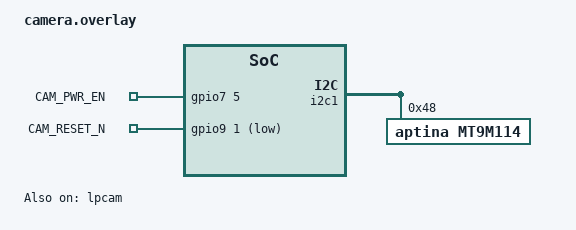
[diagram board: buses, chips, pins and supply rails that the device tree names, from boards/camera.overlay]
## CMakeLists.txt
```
# SPDX-License-Identifier: Apache-2.0
# Your west file should contain something like this to include the CMSIS-Stream module:
#    - name: cmsisstream
#      url: https://github.com/ARM-software/CMSIS-Stream
#      revision: main
#      path: modules/lib/cmsisstream

cmake_minimum_required(VERSION 3.20.0)

find_package(Zephyr REQUIRED HINTS $ENV{ZEPHYR_BASE})
project(hello_world)


add_subdirectory(src/streamgraph/common)
add_subdirectory(src/streamgraph/streamnodes)

target_sources(app PRIVATE src/main.cpp src/startup.c
  src/streamgraph/nodes_src/kws_img.c 
  src/streamgraph/nodes_src/kws_mfcc.c
  src/streamgraph/nodes_src/classify.cpp
  
  src/streamgraph/nodes_src/init_drv_src.cpp
  src/networks/kws_micronet_m_vela_H128.tflite.cpp
  src/container.c
  src/md5.c
  src/networks/network.cpp
)

# Workaround for Zephyr issue with gcc / Helium
# The file classify.cpp uses arm_mve.h
set_source_files_properties(src/streamgraph/nodes_src/classify.cpp
PROPERTIES COMPILE_DEFINITIONS ZEPHYR_INCLUDE_TOOLCHAIN_STDINT_H_)

if (CONFIG_DISPLAY)
  target_sources(app PRIVATE
    src/streamgraph/nodes_src/img_utils.cpp
  )
endif()


target_include_directories(app PUBLIC 
  src/streamgraph/streamnodes
  src/streamgraph/streamnodes/appnodes
  src/networks
  src
  )

#######################
# Appa
target_sources(app PRIVATE 
  src/streamgraph/appa/scheduler_appa.cpp
  src/streamgraph/appa/appa_params.c
  )

target_include_directories(app PUBLIC 
  src/streamgraph/appa
  )

#######################
# AppB
target_sources(app PRIVATE 
  src/streamgraph/appb/scheduler_appb.cpp
  src/streamgraph/appb/appb_params.c
  )

target_include_directories(app PUBLIC 
  src/streamgraph/appb
  )

#######################
# AppC
target_sources(app PRIVATE 
  src/streamgraph/appc/scheduler_appc.cpp
  src/streamgraph/appc/appc_params.c
  )

target_include_directories(app PUBLIC 
  src/streamgraph/appc
  )

if (CONFIG_TEMPLATE_INSTANTIATIONS)
    message(STATUS "Including template instantiations for code size optimization")
    target_sources(app PRIVATE src/streamgraph/common/template_instantiations.cpp)
endif()

target_link_libraries(app PRIVATE stream_nodes appcommon)
```

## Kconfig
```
config SAMPLE_RATE
	int "Sampling rate"
	default 16000

config NB_BINS
    int "Number of frequency bins"
    default 128

config I2S_SAMPLES
	int "Number of samples per slab buffer"
	default 320

config I2S_NUM_BUFFERS
	int "Number of I2S slab buffers to allocate"
	default 4

config ACTIVATION_BUF_SECTION
	string "Linker section where activation buffer (tensor arena) is placed"
	default ".bss.activation_buf"

config ACTIVATION_BUF_SZ
	hex "Tensor arena size"
	default 0x20000

config TOUCH_SCREEN_DELAY
	int "Duration between touch screen events in ms"
	default 500
	help
		Minimum duration between two touch screen events to avoid
		generating too many events.

config MODEL_IN_EXT_FLASH
	bool "Put ML model to external flash"
	select FLASH
	select ALIF_OSPI_FLASH_XIP
	help
		Initialize OSPI controller to XIP mode. Initialize the onboard flash device. Link ML model data to external flash address space.
		In addition to normal zephyr.bin output, ospi1.bin is generated. When enabled, the model memory section is set automatically (See BufAttributes.h)

config MODEL_SECTION
	string "Linker section where ML model is placed"
	default ".rodata.tflm_model"

config ETHOS_U_AXI0_ONLY
	bool "Only use AXI0 port on the Ethos"
	default false

config TEMPLATE_INSTANTIATIONS
	bool "Code size optimization with template instantiations"
	default false

config PREBUILT_ET
	bool "Prebuilt executorch library"
	default false

config ET_ARM_BAREMETAL_METHOD_ALLOCATOR_POOL_SIZE
	hex "Method allocator pool size in bytes"
	default 0x20000
	help
	  Size of the method allocator pool in bytes. This memory is used
	  for allocating ExecuTorch method instances and their metadata.
	  Default is 16KB which should be sufficient for most small models.
	  Larger models may require more memory.

config ET_ARM_BAREMETAL_SCRATCH_TEMP_ALLOCATOR_POOL_SIZE
	hex "Temporary allocator pool size in bytes"
	default 0x8000
	help
	  Size of the temporary allocator pool in bytes. This memory is used
	  for temporary allocations during model execution such as intermediate
	  tensor calculations. Default is 2KB which should be sufficient for
	  simple operations. Complex models may require more memory.

config ONLY_LAST
	bool "Only use the last network"
	default false

	
config ET_METHOD_SECTION
	string "Linker section method buffer is placed"
	default ".bss.method"

config ET_TENSOR_ARENA_SECTION
	string "Linker section where activation buffer (tensor arena) is placed"
	default ".bss.tensor_arena"

config ET_ETHOSU_SCRATCH_SECTION
	string "Fast scratch buffer section for Ethos-U."
	default ".bss.ethosu_scratch"

config ET_MODEL
	string "Model coefficients"
	default ".rodata.et"

module = STREAMAPPS
module-str = streamapps
source "subsys/logging/Kconfig.template.log_config"

source "Kconfig.zephyr"
```

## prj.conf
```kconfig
CONFIG_CPP=y
CONFIG_STD_CPP17=y

CONFIG_REQUIRES_FULL_LIBC=y
CONFIG_REQUIRES_FLOAT_PRINTF=y

CONFIG_NEWLIB_LIBC=y
CONFIG_REQUIRES_FULL_LIBCPP=y
CONFIG_NEWLIB_LIBC_MIN_REQUIRED_HEAP_SIZE=8192

CONFIG_CMSISSTREAM=y
CONFIG_CMSISSTREAM_POOL_SECTION=".alif_sram1.evt_pool"

CONFIG_CMSIS_DSP=y
CONFIG_CMSIS_DSP_FLOAT16=n

# Deprecated settngs with latest CMSIS-DSP Zephyr module
# (kept for backward compatibility with CMSIS-DSP in Zephyr main repo)
CONFIG_CMSIS_DSP_FASTMATH=y
CONFIG_CMSIS_DSP_COMPLEXMATH=y
CONFIG_CMSIS_DSP_TRANSFORM=y
CONFIG_CMSIS_DSP_WINDOW=y
CONFIG_CMSIS_DSP_SUPPORT=y
CONFIG_CMSIS_DSP_MATRIX=y
CONFIG_CMSIS_DSP_STATISTICS=y

CONFIG_MAIN_STACK_SIZE=4096
CONFIG_MAIN_THREAD_PRIORITY=3
CONFIG_HEAP_MEM_POOL_SIZE=16384
#CONFIG_HEAP_MEM_POOL_SIZE=32765

# For C++ std library allocations
CONFIG_COMMON_LIBC_MALLOC=y
# All memory
CONFIG_COMMON_LIBC_MALLOC_ARENA_SIZE=60000

CONFIG_EVENTS=y

CONFIG_LOG=y
CONFIG_LOG_MODE_IMMEDIATE=n
CONFIG_LOG_DEFAULT_LEVEL=3
#CONFIG_LOG_RUNTIME_FILTERING=y

CONFIG_CMSISSTREAM_LOG_LEVEL_DBG=y
CONFIG_STREAMAPPS_LOG_LEVEL_DBG=y

CONFIG_I2S=y

# If value not consistent with the graph settings, it won't build.
CONFIG_I2S_SAMPLES=320
CONFIG_I2S_NUM_BUFFERS=2

# Display
#CONFIG_MIPI_DSI=y
#CONFIG_DISPLAY=y
#CONFIG_DBUF_DISPLAY=y

#TF Lite
#CONFIG_TENSORFLOW_LITE_MICRO=y
#CONFIG_ACTIVATION_BUF_SECTION=".alif_sram1.activation_buf"

# TF Lite and executorch
CONFIG_ARM_ETHOS_U=y

CONFIG_ARM_ETHOS_U_LOG_LEVEL_DBG=n




CONFIG_THREAD_STACK_INFO=y

#CONFIG_DEBUG=y
#CONFIG_SPEED_OPTIMIZATIONS=y
#CONFIG_SIZE_OPTIMIZATIONS=n


CONFIG_CBPRINTF_FP_SUPPORT=y

# Camera
#CONFIG_VIDEO=y
#CONFIG_VIDEO_BUFFER_POOL_SZ_MAX=524288
#CONFIG_VIDEO_BUFFER_POOL_NUM_MAX=1

CONFIG_I2C_TARGET=y
CONFIG_I2C=y
CONFIG_I2C_DW_CLOCK_SPEED=100
CONFIG_I2C_SHELL=y

# To build a CPP file containing template instantiations and avoid
# duplications when same template is used in multiple CMSIS Stream graphs
CONFIG_TEMPLATE_INSTANTIATIONS=y

# Shell
CONFIG_SHELL=y
CONFIG_SHELL_LOG_BACKEND=y
CONFIG_SHELL_BACKEND_SERIAL=y
CONFIG_SHELL_STACK_SIZE=8192

CONFIG_GPIO=y
CONFIG_GPIO_SHELL=y

# Touch screen
CONFIG_INPUT=y
CONFIG_INPUT_GPIO_KEYS=n
CONFIG_INPUT_GT911_INTERRUPT=y

# For external flash model
#CONFIG_MODEL_IN_EXT_FLASH=y
#CONFIG_FLASH=y
#CONFIG_OSPI_FLASH_IS25WX=y
#CONFIG_USE_ALIF_HAL_OSPI=y

#CONFIG_CMSIS_NN=y

# Executorch
CONFIG_PREBUILT_ET=y
CONFIG_ET_METHOD_SECTION=".alif_sram1.method"
CONFIG_ET_TENSOR_ARENA_SECTION=".alif_sram1.tensor_arena"
CONFIG_ET_ETHOSU_SCRATCH_SECTION=".alif_sram1.ethosu_scratch"
CONFIG_ET_MODEL=".rodata.et"

CONFIG_FPU=y
CONFIG_FP_HARDABI=y

# Enable only last network for debug
CONFIG_ONLY_LAST=y
```

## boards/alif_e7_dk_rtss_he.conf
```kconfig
CONFIG_DBUF_DISPLAY_SECTION=".alif_sram0"
```

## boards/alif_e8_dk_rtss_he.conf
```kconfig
#CONFIG_DBUF_DISPLAY_SECTION=".alif_sram0"
#CONFIG_VIDEO_BUFFER_POOL_SZ_MAX=524288
#CONFIG_VIDEO_BUFFER_POOL_NUM_MAX=1
```

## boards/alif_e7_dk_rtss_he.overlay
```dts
/* Copyright (C) 2025 Alif Semiconductor - All Rights Reserved.
 * Use, distribution and modification of this code is permitted under the
 * terms stated in the Alif Semiconductor Software License Agreement
 *
 * You should have received a copy of the Alif Semiconductor Software
 * License Agreement with this file. If not, please write to:
 * contact@alifsemi.com, or visit: https: //alifsemi.com/license
 *
 */


/ {
	aliases {
		i2s-mic = &i2s3;
		lcd = &cdc200;
		sw0 = &button5;
	};

	chosen {
		zephyr,touch = &gt911;
	};

	soc {
      cdc200: cdc200@49031000 {
			width = <480>;
			height = <800>;
			hfront-porch = <5>;
			hback-porch = <5>;
			hsync-len = <4>;
			vfront-porch = <10>;
			vback-porch = <10>;
			vsync-len = <2>;
			clock-frequency = <24364080>;
			hsync-active = <0>;
			vsync-active = <0>;
			de-active = <1>;
			pixelclk-active = <0>;
			bg-color = <0>;
			enable-l1 = <1>;
			pixel-fmt-l1 = "rgb-565";
			def-back-color-l1 = <0>;
			win-x0-l1 = <0>;
			win-y0-l1 = <0>;
			win-x1-l1 = <480>;
			win-y1-l1 = <800>;
			blend-factor1-l1 = <4>;
			blend-factor2-l1 = <5>;
			const-alpha-l1 = <0xff>;
			enable-l2 = <0>;
			pixel-fmt-l2 = "undefined";
			win-x0-l2 = <0>;
			win-y0-l2 = <0>;
			win-x1-l2 = <0>;
			win-y1-l2 = <0>;
			blend-factor1-l2 = <6>;
			blend-factor2-l2 = <7>;
			const-alpha-l2 = <0xff>;
		};
	  
	};


  };



&ospi1 {
	bus-speed = <100000000>;
	pinctrl-0 = <&pinctrl_flash>;
	status = "okay";
};

&i2s3
{
    status = "okay";
};



&mipi_dsi {
	status = "okay";
};

&gpio14 {
	status = "okay";
};

&ethosu0 {
	status = "okay";
};



&lpgpio{
	status = "okay";
};

/ {
	buttons {
		compatible = "gpio-keys";
		button5: button_5 {
			gpios = < &lpgpio 0x4 0x0 >;
			label = "SW5";
		};
	};
};


&i2c1 {
	status = "okay";
	gt911: gt911@5d{
		compatible = "goodix,gt911";
		reg = <0x5d>;
		reset-gpios = <&gpio4 0 GPIO_ACTIVE_LOW>;
		irq-gpios = <&gpio9 4 GPIO_ACTIVE_HIGH>;
	};
};



&gpio4 {
	pinctrl-0	= <&pinctrl_gpio4>;
	pinctrl-names   = "default";
	status          = "okay";
};


&gpio9 {
	pinctrl-0	= <&pinctrl_gpio9>;
	pinctrl-names   = "default";
	status          = "okay";
};
```

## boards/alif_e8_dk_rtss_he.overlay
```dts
/* Copyright (C) 2025 Alif Semiconductor - All Rights Reserved.
 * Use, distribution and modification of this code is permitted under the
 * terms stated in the Alif Semiconductor Software License Agreement
 *
 * You should have received a copy of the Alif Semiconductor Software
 * License Agreement with this file. If not, please write to:
 * contact@alifsemi.com, or visit: https: //alifsemi.com/license
 *
 */

/ {
	aliases {
		i2s-mic = &i2s4;
		lcd = &cdc200;
	};
};

&ospi1 {
	bus-speed = <100000000>;
	status = "okay";
};

&i2s4{
    status = "okay";
};

&ethosu0 {
	status = "okay";
};

&lpgpio {
	status = "okay";
};

&gpio6 {
	status = "okay";
};
```

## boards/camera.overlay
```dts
&gpio7 {
   status = "okay";
   pinctrl-0	= <&pinctrl_gpio7>;
   pinctrl-names   = "default";
};

&gpio9 {
   status = "okay";
   pinctrl-0	= <&pinctrl_gpio9>;
   pinctrl-names   = "default";
};

&i2c1 {
	status = "okay";

	mt9m114: mt9m114@48{
		compatible = "aptina,mt9m114";
		reg = <0x48>;
		status = "okay";

		port {
			mt9m114_ep_out: endpoint {
				remote-endpoint-label = "lpcam_ep_in";
			};
		};
	};
};

&lpcam {
	status = "okay";
	cpi-interface = "parallel";
	ports {
		#address-cells = <1>;
		#size-cells = <0>;

		/* Camera Input Endpoint. For LP-CAM it is only camera */
		port@0 {
			reg = <0>;
			lpcam_ep_in: endpoint {
				remote-endpoint-label = "mt9m114_ep_out";
			};
		};

		/* Video buffer output endpoint (Memory). */
		port@1 {
			reg = <1>;
			lpcam_mem_ep_out: endpoint {
				remote-endpoint-label = "application";
			};
		};
	};
};

/ {
	camera_pwr: camera-pwr {
		status = "okay";
		compatible = "gpio-leds";
		cam_pwr_gpio: cam-pwr-gpio {
			gpios = <&gpio7 5 GPIO_ACTIVE_HIGH>;
			label = "CAM_PWR_EN";
		};
	};

	aliases {
		cam-pwr = &cam_pwr_gpio;
	};
};


/ {
	camera_reset: camera-reset {
		status = "okay";
		compatible = "gpio-leds";
		cam_reset_gpio: cam-reset-gpio {
			gpios = <&gpio9 1 GPIO_ACTIVE_LOW>;
			label = "CAM_RESET_N";
		};
	};

	aliases {
		cam-reset = &cam_reset_gpio;
	};
};
```

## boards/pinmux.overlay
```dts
/* Button */
&pinctrl_lpgpio {
	group0 {
		pinmux = < PIN_P15_4__LPGPIO >;
		read-enable = < 0x1 >;
		driver-state-control = <1>;
	};
};

/* Touch screen */
&pinctrl_gpio4 {
	group0 {
		/* Enable only Port-4 Pin-0 */
		pinmux = <PIN_P4_0__GPIO>;
	};
};

/* Camera */
&pinctrl_gpio7 {
	group0 {
		pinmux = <PIN_P7_5__GPIO>;
	};
};

/* Camera and touch screen */
&pinctrl_gpio9 {
	group0 {
		pinmux = <PIN_P9_4__GPIO>,<PIN_P9_1__GPIO>;
	};
};
```

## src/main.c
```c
/*
 * Copyright (c) 2012-2014 Wind River Systems, Inc.
 *
 * SPDX-License-Identifier: Apache-2.0
 */

#include <stdio.h>
#include <zephyr/logging/log.h>
LOG_MODULE_REGISTER(main);

#include "stream.h"

int main(void)
{
    LOG_INF("Starting main\n");

    int err = init_stream();
    if (err != 0) {
        LOG_INF("Error initializing stream\n");
        return -1;
    }

    return 0;
}
```

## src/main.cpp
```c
/* ----------------------------------------------------------------------
 * Project:      CMSIS Stream demo
 * Title:        main.cpp
 * Description:  Entry point for the CMSIS Stream demo application
 *
 * --------------------------------------------------------------------
 *
 * Copyright (C) 2026 ARM Limited or its affiliates. All rights reserved.
 *
 * SPDX-License-Identifier: Apache-2.0
 *
 * Licensed under the Apache License, Version 2.0 (the License); you may
 * not use this file except in compliance with the License.
 * You may obtain a copy of the License at
 *
 * www.apache.org/licenses/LICENSE-2.0
 *
 * Unless required by applicable law or agreed to in writing, software
 * distributed under the License is distributed on an AS IS BASIS, WITHOUT
 * WARRANTIES OR CONDITIONS OF ANY KIND, either express or implied.
 * See the License for the specific language governing permissions and
 * limitations under the License.
 */

#include <cstdio>
#include <cstdlib>

#include "cg_enums.h"
#include <zephyr/kernel.h>
#include <zephyr/logging/log.h>
#include <zephyr/shell/shell.h>
#include <zephyr/drivers/i2s.h>
#include <zephyr/drivers/gpio.h>
#include <zephyr/input/input.h>

LOG_MODULE_REGISTER(streamapps, CONFIG_STREAMAPPS_LOG_LEVEL);


#include "cstream_node.h"
#if !defined(CONFIG_ONLY_LAST)
#include "appa_params.h"
#include "appb_params.h"
#endif
#include "appc_params.h"

#if !defined(CONFIG_ONLY_LAST)
#include "scheduler_appa.h"
#include "scheduler_appb.h"
#endif
#include "scheduler_appc.h"

#include "EventQueue.hpp"
#include "StreamNode.hpp"

#include "stream_runtime_init.hpp"

#include "rtos_events.hpp"

extern "C" {
#include "container.h"
#include "network.h"
}

#include "init_drv_src.hpp"

#if defined(CONFIG_PREBUILT_ET)
#include "et.hpp"
#endif 

/*
 * Get button configuration from the devicetree sw0 alias. This is mandatory.
 */
#define SW_NODE DT_ALIAS(sw0)
#if DT_NODE_HAS_STATUS_OKAY(SW_NODE)
static const struct gpio_dt_spec button = GPIO_DT_SPEC_GET_OR(SW_NODE, gpios, {0});
static struct gpio_callback button_cb_data;
#endif

#if DT_NODE_EXISTS(DT_CHOSEN(zephyr_touch))
static const struct device *const touch_dev = DEVICE_DT_GET(DT_CHOSEN(zephyr_touch));

#endif

// Event to the interrupt thread
struct k_event cg_interruptEvent;
static k_tid_t tid_interrupts = NULL;
static struct k_thread interrupt_thread;

#define INTERRUPT_THREAD_PRIORITY 0

static K_THREAD_STACK_DEFINE(interrupt_thread_stack, 4096);

using namespace arm_cmsis_stream;



#if defined(CONFIG_ONLY_LAST)
#define NB_APPS 1
static int currentNetwork = 0;
#else
// Number of applications/networks available in this demo
#define NB_APPS 3
// 0 : KWS
// 1 : Spectrogram
// 2 : To experiment with camera support
static int currentNetwork = 2;
#endif

#define SWITCH_EVENT (1 << 0)

/**
 * @brief Array of stream execution contexts, one per network.
 */
static stream_execution_context_t contexts[NB_APPS];

/**
 * @brief Parameters for appa and appb networks.
 * By convention, each parameter structs starts with a hardwareParams member
 * named 'hw_' that holds hardware connection parameters.
 */
static hardwareParams *params[NB_APPS];

#if DT_NODE_HAS_STATUS_OKAY(SW_NODE)
void button_pressed(const struct device *dev, struct gpio_callback *cb, uint32_t pins)
{
	if (NB_APPS == 1) {
		// If there is only one network, we don't need to post events to switch between
		// networks
		return;
	}
	uint32_t old = k_event_post(&cg_interruptEvent, SWITCH_EVENT);
	LOG_DBG("Posted SWITCH_EVENT, old events=0x%08x\n", old);
}
#endif

#if DT_NODE_EXISTS(DT_CHOSEN(zephyr_touch))
static int64_t last_sync_ms = 0;

static void touch_event_callback(struct input_event *evt, void *user_data)
{
	if (NB_APPS == 1) {
		// If there is only one network, we don't need to post events to switch between
		// networks
		return;
	}
	if (evt->sync) {
		int64_t now = k_uptime_get();
		if (now - last_sync_ms > CONFIG_TOUCH_SCREEN_DELAY) {
			uint32_t old = k_event_post(&cg_interruptEvent, SWITCH_EVENT);
			LOG_DBG("Posted SWITCH_EVENT, old events=0x%08x\n", old);
			last_sync_ms = now;
		}
	}
}
INPUT_CALLBACK_DEFINE(touch_dev, touch_event_callback, NULL);
#endif

static int cmd_switch(const struct shell *shell, size_t argc, char **argv)
{
	if (NB_APPS == 1) {
		// If there is only one network, we don't need to post events to switch between
		// networks
		return 0;
	}
	uint32_t old = k_event_post(&cg_interruptEvent, SWITCH_EVENT);
	LOG_DBG("Posted SWITCH_EVENT, old events=0x%08x\n", old);

	return 0;
}

SHELL_CMD_REGISTER(switch, NULL, "Switch between networks", cmd_switch);

#if defined(CONFIG_PREBUILT_ET)
static int cmd_et(const struct shell *shell, size_t argc, char **argv)
{
   float v = 1.0f;

   if (argc > 1) {
	 v = strtof(argv[1], NULL);
   }
   int err = et(v);

   LOG_INF("Inference completed with result %d\n", err);

   return 0;
}
SHELL_CMD_REGISTER(et, NULL, "Executorch test", cmd_et);
#endif 

// Translate interrupt events into CMSIS Stream events
void interrupt_thread_function(void *, void *, void *)
{
	LOG_INF("Started interrupt thread\n");

	for (;;) {
		uint32_t res = k_event_wait(&cg_interruptEvent, SWITCH_EVENT, false, K_FOREVER);
		if ((res & SWITCH_EVENT) != 0) {
			k_event_clear(&cg_interruptEvent, SWITCH_EVENT);
			LOG_DBG("Received Switching network event\n");
			currentNetwork = (currentNetwork + 1) % NB_APPS;
			LOG_DBG("Switching to network %d\n", currentNetwork);
			stream_pause_current_scheduler();
			stream_resume_scheduler(&contexts[currentNetwork]);
			LOG_DBG("Context switch done\n");
		}
	}
	LOG_INF("Interrupt thread ended\n");
}

/*

 Pause and resume all nodes in a given graph.
 Those are not defined in the CMSIS STream Zephyr module because the
 CStreamNode interface can be extended by the application and support new
 interfaces.

 To work with the CMSIS Stream Zephyr module, two interfaces have been defined
 in cstream_node.h and the context_switch_intf is used in the
 pause / resume functions.

 Those functions are called by the CMSIS Stream Zephyr module which does not
 have any visibility on the application specific CStreamNode structure.

*/
static void pause_scheduler_app(const stream_execution_context_t *context)
{
	for (int32_t nodeid = 0; nodeid < (int32_t)context->nb_identified_nodes; nodeid++) {
		CStreamNode *cnode = static_cast<CStreamNode *>(context->get_node_by_id(nodeid));
		if (cnode != nullptr) {
			// If the node implements the context switch interface, pause it
			if ((cnode->obj != nullptr) && (cnode->context_switch_intf != nullptr)) {
				cnode->context_switch_intf->pause(cnode->obj);
			}
		}
	}
}

static void resume_scheduler_app(const stream_execution_context_t *context)
{
	for (int32_t nodeid = 0; nodeid < (int32_t)context->nb_identified_nodes; nodeid++) {
		CStreamNode *cnode = static_cast<CStreamNode *>(context->get_node_by_id(nodeid));

		if (cnode != nullptr) {
			// If the node implements the context switching interface, resume it
			if ((cnode->obj != nullptr) && (cnode->context_switch_intf != nullptr)) {
				cnode->context_switch_intf->resume(cnode->obj);
			}
		}
	}
}

/*

The get_scheduler_node functions cannot be used directly by the
CMSIS Stream Zephyr module necause they return an application dependent
CStreamNode* pointer.
So we need to wrap them to return a void* pointer.

*/
#if !defined(CONFIG_ONLY_LAST)
static void *get_appa_node(int32_t nodeID)
{
	return static_cast<void *>(get_scheduler_appa_node(nodeID));
}

static void *get_appb_node(int32_t nodeID)
{
	return static_cast<void *>(get_scheduler_appb_node(nodeID));
}
#endif 

static void *get_appc_node(int32_t nodeID)
{
	return static_cast<void *>(get_scheduler_appc_node(nodeID));
}

#if DT_NODE_HAS_STATUS_OKAY(SW_NODE)
static int config_button()
{
	if (!gpio_is_ready_dt(&button)) {
		printk("Error: button device %s is not ready\n", button.port->name);
		return -1;
	}

	int ret = gpio_pin_configure_dt(&button, GPIO_INPUT);
	if (ret != 0) {
		printk("Error %d: failed to configure %s pin %d\n", ret, button.port->name,
		       button.pin);
		return ret;
	}

	ret = gpio_pin_interrupt_configure_dt(&button, GPIO_INT_EDGE_TO_ACTIVE);
	if (ret != 0) {
		printk("Error %d: failed to configure interrupt on %s pin %d\n", ret,
		       button.port->name, button.pin);
		return ret;
	}

	gpio_init_callback(&button_cb_data, button_pressed, BIT(button.pin));
	gpio_add_callback(button.port, &button_cb_data);

	return (0);
}
#endif

#if DT_NODE_EXISTS(DT_CHOSEN(zephyr_touch))
static int config_touch()
{
	if (!device_is_ready(touch_dev)) {
		LOG_ERR("Device %s not found. Aborting sample.", touch_dev->name);
		return -1;
	}

	return (0);
}
#endif

int main(void)
{
	int err;
	EventQueue *queue_app[NB_APPS];

	LOG_DBG("Starting main\n");

	/*
	Configure hardware audio source and display
	Initialize memory slab for audio buffers

	Instead of hardcoding initialization of HW peripheral here,
	one could extend the ContextSwitch interface to query what
	is the need of a node.
	Then, we could ask all nodes in each graph what they need.
	And we would only initialize the HW peripherals needed by the nodes
	in any graph.

	*/

#if defined(CONFIG_I2S)
	k_mem_slab *mem_slab = nullptr;
	const struct device *i2s_mic = init_audio_source(&mem_slab);

	if (i2s_mic == nullptr) {
		LOG_ERR("Error initializing audio source\n");
		goto error;
	}
#else
	k_mem_slab *mem_slab = nullptr;
	const struct device *i2s_mic = nullptr;
#endif

#if DT_NODE_HAS_STATUS_OKAY(SW_NODE)
	err = config_button();
	if (err != 0) {
		LOG_ERR("Error configuring button\n");
		goto error;
	}
#endif

#if DT_NODE_EXISTS(DT_CHOSEN(zephyr_touch))
	err = config_touch();
	if (err != 0) {
		LOG_ERR("Error configuring touch\n");
		goto error;
	}
#endif

#if defined(CONFIG_DISPLAY)
	err = init_display();
	if (err != 0) {
		LOG_ERR("Error initializing display\n");
		goto error;
	}
#endif

#if defined(CONFIG_MODEL_IN_EXT_FLASH)
	err = validate_container_description("c4b4312989d06dd45d92da7af0913afd");
	if (err) 
	{
		LOG_ERR("Invalid container description in external flash\n");
		goto error;
	} 
	else 
	{
		LOG_INF("Container description in external flash validated\n");
	}
#endif

	/**
	 * @brief Network parameter initialization
	 * Most settings could come from a YAML file. The YAML
	 * file could be used to generate the appa_params.c and
	 * appb_params.c files.
	 *
	 * The parameters related to hardware connections are set here
	 * in main.cpp. They are common to all graphs so a generic loop
	 * can be used. The convention has been imposed that each
	 * prameter structure for each graph starts with a hardwareParams
	 * member named 'hw_'.
	 *
	 * The TensorFlow Lite model pointer and size are also set here
	 * in main.cpp for the appa graph.
	 * It would probaby be better to put this in a YAML file too
	 * (name of variable containing the model pointer and size).
	 * Or have another mechanism to select the model from yaml.
	 * Here we have to hardcode the initialization of the node.
	 * So it is not generic. If the network contains multiple TFLite
	 * nodes with different models, this approach would not work.
	 * We would need to change the initialization.
	 * It would be better if the initialization in this
	 * file could work with any network and don't have to be changed.
	 * If is possible but require to define some conventions
	 */

	/*

	Init settings for appa scheduler

	*/
#if !defined(CONFIG_ONLY_LAST)
    appaParams.kws.modelAddr = (uint8_t *)GetModelPointer();
	appaParams.kws.modelSize = GetModelLen();
	params[0] = reinterpret_cast<hardwareParams *>(&appaParams);

	/*
	
	Init settings for appb scheduler
	
	*/
	params[1] = reinterpret_cast<hardwareParams *>(&appbParams);

	/*
	
	Init settings for appc scheduler
	
	*/
	params[2] = reinterpret_cast<hardwareParams *>(&appcParams);
#else
	params[0] = reinterpret_cast<hardwareParams *>(&appcParams);
#endif

	/**
	 * @brief Populate hardwareParams for each network
	 * by setting the i2s_mic and mem_slab members.
	 */
	for (int network = 0; network < NB_APPS; network++) {
		params[network]->i2s_mic = i2s_mic;
		params[network]->mem_slab = mem_slab;
	}

	err = stream_init_memory();
	if (err != 0) {
		LOG_ERR("Error initializing stream\n");
		goto error;
	}

	/* Event queue init */
	for (int network = 0; network < NB_APPS; network++) {
		queue_app[network] = stream_new_event_queue();

		if (queue_app[network] == nullptr) {
			LOG_ERR("Can't create CMSIS Stream Event Queue for network %d\n", network);
			goto error;
		}
	}

	// Init nodes
#if !defined(CONFIG_ONLY_LAST)
	err = init_scheduler_appa(queue_app[0],&appaParams);
	if (err != CG_SUCCESS) {
		LOG_ERR("Error: Failure during scheduler initialization for appa.\n");
		goto error;
	}

	err = init_scheduler_appb(queue_app[1],&appbParams);
	if (err != CG_SUCCESS) {
		LOG_ERR("Error: Failure during scheduler initialization for appb.\n");
		goto error;
	}

	err = init_scheduler_appc(queue_app[2],&appcParams);
	if (err != CG_SUCCESS) {
		LOG_ERR("Error: Failure during scheduler initialization for appc.\n");
		goto error;
	}
#else
	err = init_scheduler_appc(queue_app[0], &appcParams);
	if (err != CG_SUCCESS) {
		LOG_ERR("Error: Failure during scheduler initialization for appc.\n");
		goto error;
	}
#endif

	k_event_init(&cg_interruptEvent);

	/* Thread inits */
	tid_interrupts = k_thread_create(&interrupt_thread, interrupt_thread_stack,
					 K_THREAD_STACK_SIZEOF(interrupt_thread_stack),
					 interrupt_thread_function, NULL, NULL, NULL,
					 INTERRUPT_THREAD_PRIORITY, K_FP_REGS, K_NO_WAIT);

	k_thread_name_set(&interrupt_thread, "interrupt_to_evt");

	LOG_INF("Initialize contexts");

#if !defined(CONFIG_ONLY_LAST)
	contexts[0] = {
		.dataflow_scheduler = scheduler_appa,
		.reset_fifos = reset_fifos_scheduler_appa,
		.pause_all_nodes = pause_scheduler_app,
		.resume_all_nodes = resume_scheduler_app,
		.get_node_by_id = get_appa_node,
		.evtQueue = queue_app[0],
		.nb_identified_nodes = STREAM_APPA_NB_IDENTIFIED_NODES,
		.scheduler_length = STREAM_APPA_SCHED_LEN
	};

	contexts[1] = {
		.dataflow_scheduler = scheduler_appb,
		.reset_fifos = reset_fifos_scheduler_appb,
		.pause_all_nodes = pause_scheduler_app,
		.resume_all_nodes = resume_scheduler_app,
		.get_node_by_id = get_appb_node,
		.evtQueue = queue_app[1],
		.nb_identified_nodes = STREAM_APPB_NB_IDENTIFIED_NODES,
		.scheduler_length = STREAM_APPB_SCHED_LEN
	};

	
	contexts[2] = {
		.dataflow_scheduler = scheduler_appc,
		.reset_fifos = reset_fifos_scheduler_appc,
		.pause_all_nodes = pause_scheduler_app,
		.resume_all_nodes = resume_scheduler_app,
		.get_node_by_id = get_appc_node,
		.evtQueue = queue_app[2],
		.nb_identified_nodes = STREAM_APPC_NB_IDENTIFIED_NODES,
		.scheduler_length = STREAM_APPC_SCHED_LEN
	};

#else

	contexts[0] = {.dataflow_scheduler = scheduler_appc,
		       .reset_fifos = reset_fifos_scheduler_appc,
		       .pause_all_nodes = pause_scheduler_app,
		       .resume_all_nodes = resume_scheduler_app,
		       .get_node_by_id = get_appc_node,
		       .evtQueue = queue_app[0],
		       .nb_identified_nodes = STREAM_APPC_NB_IDENTIFIED_NODES,
		       .scheduler_length = STREAM_APPC_SCHED_LEN};
#endif

	LOG_INF("Try to start first network");

	/*

	resume is called (like in a context switch) to allow
	the nodes to publish events before starting if they need to.
	event queue accepts events when resume is called.

	We cannot do it in init function of the node since in init we
	do not know if the graph is going to be run or if it is paused.

	If there is a need to distinguish start from resume then
	it has to be done in each node with a state variable.

	*/
	//resume_scheduler_app(&contexts[currentNetwork]);
	//stream_start_threads(&contexts[currentNetwork]);

	//stream_wait_for_threads_end();

#if !defined(CONFIG_ONLY_LAST)
	free_scheduler_appa();
	free_scheduler_appb();
#endif
	free_scheduler_appc();

	for (int network = 0; network < NB_APPS; network++) {
		delete queue_app[network];
	}

	stream_free_memory();

	LOG_INF("End of main\n");
	k_sleep(K_FOREVER);

error:
	LOG_ERR("Fatal error in main, stopping execution\n");
	k_sleep(K_FOREVER);
	return 0;
}
```

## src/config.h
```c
#ifndef config_h
#define config_h



#define DEBUG_PRINT(fmt, ...) \
    LOG_DBG(fmt, ##__VA_ARGS__)
 

#define ERROR_PRINT(fmt, ...) \
    LOG_ERR(fmt, ##__VA_ARGS__)


#endif
```

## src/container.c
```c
#include <zephyr/kernel.h>
#include <zephyr/logging/log.h>

#include "container.h"
#include "md5.h"

#include <string.h>
#include <stdio.h>

LOG_MODULE_DECLARE(streamapps, CONFIG_STREAMAPPS_LOG_LEVEL);

#if defined(CONFIG_MODEL_IN_EXT_FLASH)

#define OSPI1_NODE DT_NODELABEL(ospi1)

#if !DT_NODE_HAS_STATUS(OSPI1_NODE, okay)
#error "ospi1 node is not defined or not okay"
#endif

#define XIP_ADDR_HE DT_PROP_BY_IDX(OSPI1_NODE, xip_base_address, 0)

// Datatypes to save several binaries in flash
// Binary description header
typedef struct {
    uint32_t binary_size;
    const uint8_t *binary_data;
} binary_desc_t;

// List of binaries
struct container_header_t_ {
    uint32_t size;
    uint32_t magic;
    uint32_t nb_binaries;
    binary_desc_t binaries[];
};

static const container_header_t *container_header=(const container_header_t *)(XIP_ADDR_HE);


const container_header_t *get_container_description()
{
    return (container_header);
}

const uint8_t * get_binary(uint32_t idx)
{
   return (container_header->binaries[idx].binary_data);
}

uint32_t get_binary_len(uint32_t idx)
{
   return (container_header->binaries[idx].binary_size);
}

static uint32_t get_container_length()
{
    return (container_header->size);
}

int validate_container_description(const char *expected_md5_hex)
{
    unsigned char md5_sum[16];
    char md5_hex[33];

    const container_header_t *header = get_container_description();
    const void *data = (const void *)(header);

    if (header->magic != 0xBEEFDEAD)
    {
        LOG_ERR("Invalid container description header magic: expected 0xBEEFDEAD, got 0x%08X\n", header->magic);
        return 1; // Invalid header
    }

    size_t data_len = get_container_length();

    md5_compute(data, data_len, md5_sum);
    md5_to_hex(md5_sum, md5_hex);

    if (strncmp(md5_hex, expected_md5_hex, 32) != 0)
    {
        for(int i = 0; i < 32; i++)
        {
            printf("%c", md5_hex[i]);
        }
        printf("\n");

        for(int i = 0; i < 32; i++)
        {
            printf("%c", expected_md5_hex[i]);
        }
        printf("\n");
        return 1; // checksum does not match
    }

    return 0; // Valid description
}

#endif
```

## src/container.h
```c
#ifndef container_h
#define container_h

#include <stdint.h>
#include <stddef.h>


#if defined(CONFIG_MODEL_IN_EXT_FLASH)

struct container_header_t_;
typedef struct container_header_t_ container_header_t;

// Get the container description header from external flash
extern const container_header_t *get_container_description();
// Compute a MD5 checksum of the container description and compare it to 
// the expected one.
// It includes the header and all the binaries
extern int validate_container_description(const char *expected_md5_hex);

extern const uint8_t * get_binary(uint32_t idx);
extern uint32_t get_binary_len(uint32_t idx);
#endif

#endif
```

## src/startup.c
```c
/* Adapted from alif/samples/drivers/display/src/main.c
 * Reworked for integration in this demo.
 * Original copyright notice follows:
 * 
 * Copyright (c) 2019 Jan Van Winkel <jan.van_winkel@dxplore.eu>
 *
 * Based on ST7789V sample:
 * Copyright (c) 2019 Marc Reilly
 *
 * Copyright 2024 Alif Semiconductor
 *
 * SPDX-License-Identifier: Apache-2.0
 */
#include <zephyr/kernel.h>
#include <zephyr/device.h>
#include <zephyr/drivers/display.h>
#include <zephyr/drivers/display/cdc200.h>
#ifdef CONFIG_MIPI_DSI
#include <zephyr/drivers/mipi_dsi/dsi_dw.h>
#endif /* CONFIG_MIPI_DSI */

#include <soc_common.h>
#include <se_service.h>

#include <zephyr/drivers/gpio.h>

/* VBAT PWR_CTRL field definitions */
#define VBAT_PWR_CTRL_TX_DPHY_PWR_MASK        (1U << 0) /* Mask off the power supply for MIPI TX DPHY */
#define VBAT_PWR_CTRL_TX_DPHY_ISO             (1U << 1) /* Enable isolation for MIPI TX DPHY */
#define VBAT_PWR_CTRL_RX_DPHY_PWR_MASK        (1U << 4) /* Mask off the power supply for MIPI RX DPHY */
#define VBAT_PWR_CTRL_RX_DPHY_ISO             (1U << 5) /* Enable isolation for MIPI RX DPHY */
#define VBAT_PWR_CTRL_DPHY_PLL_PWR_MASK       (1U << 8) /* Mask off the power supply for MIPI PLL */
#define VBAT_PWR_CTRL_DPHY_PLL_ISO            (1U << 9) /* Enable isolation for MIPI PLL */
#define VBAT_PWR_CTRL_DPHY_VPH_1P8_PWR_BYP_EN (1U << 12) /* dphy vph 1p8 power bypass enable */

#if defined(CONFIG_VIDEO)
#define CAM_PWR_NODE DT_ALIAS(cam_pwr)

#if !DT_NODE_HAS_STATUS(CAM_PWR_NODE, okay)
#error "cam-pwr alias is not defined or not okay"
#endif

static const struct gpio_dt_spec cam_pwr = GPIO_DT_SPEC_GET(CAM_PWR_NODE, gpios);

#define CAM_RESET_NODE DT_ALIAS(cam_reset)

#if !DT_NODE_HAS_STATUS(CAM_RESET_NODE, okay)
#error "cam-reset alias is not defined or not okay"
#endif

static const struct gpio_dt_spec cam_reset = GPIO_DT_SPEC_GET(CAM_RESET_NODE, gpios);


#endif

/**
 * Set the RUN profile parameters for this application.
 */
static int app_set_run_params(void)
{
	run_profile_t runp;
	int ret;

/* Display configuration */
#if (defined(CONFIG_ENSEMBLE_GEN2) && defined(CONFIG_MIPI_DSI))
	const struct gpio_dt_spec cam_disp_mux_gpio =
		GPIO_DT_SPEC_GET(DT_NODELABEL(mipi_dsi), cam_disp_mux_gpios);
	gpio_pin_configure_dt(&cam_disp_mux_gpio, GPIO_OUTPUT_ACTIVE);
#endif

#if (CONFIG_VIDEO_MIPI_CSI2_DW)

#if (DT_NODE_HAS_STATUS(DT_NODELABEL(camera_select), okay))
	const struct gpio_dt_spec sel =
		GPIO_DT_SPEC_GET(DT_NODELABEL(camera_select), select_gpios);

	gpio_pin_configure_dt(&sel, GPIO_OUTPUT);
	gpio_pin_set_dt(&sel, 1);
#endif /* (DT_NODE_HAS_STATUS(DT_NODELABEL(camera_sensor), okay)) */
#endif 


#if (DT_NODE_HAS_STATUS(DT_NODELABEL(lpcam), okay))
	/* Enable LPCAM controller Pixel Clock (XVCLK). */
	/*
	 * Not needed for the time being as LP-CAM supports only
	 * parallel data-mode of cature and only MT9M114 sensor is
	 * tested with parallel data capture which generates clock
	 * internally. But can be used to generate XVCLK from LP CAM
	 * controller.
	 * sys_write32(0x140001, M55HE_CFG_HE_CAMERA_PIXCLK);
	 */
#endif

	/* Enable HFOSC (38.4 MHz) and CFG (100 MHz) clock. */
#if defined(CONFIG_SOC_SERIES_E8)
	sys_set_bits(CGU_CLK_ENA, BIT(23) | BIT(7));
#else
	sys_set_bits(CGU_CLK_ENA, BIT(23) | BIT(21));
#endif /* defined (CONFIG_SOC_SERIES_E7) */

	runp.power_domains = PD_SYST_MASK | PD_SSE700_AON_MASK | PD_DBSS_MASK;
	runp.dcdc_voltage  = 825;
	runp.dcdc_mode     = DCDC_MODE_PWM;
	runp.aon_clk_src   = CLK_SRC_LFXO;
	runp.run_clk_src   = CLK_SRC_PLL;
	runp.vdd_ioflex_3V3 = IOFLEX_LEVEL_1V8;
#if defined(CONFIG_RTSS_HP)
	runp.cpu_clk_freq  = CLOCK_FREQUENCY_400MHZ;
#else
	runp.cpu_clk_freq  = CLOCK_FREQUENCY_160MHZ;
#endif

	runp.memory_blocks = MRAM_MASK;
#if DT_NODE_EXISTS(DT_NODELABEL(sram0))
	runp.memory_blocks |= SRAM0_MASK;
#endif
#if DT_NODE_EXISTS(DT_NODELABEL(sram1))
	runp.memory_blocks |= SRAM1_MASK;
#endif
#if DT_NODE_EXISTS(DT_NODELABEL(ospi1))
	runp.memory_blocks |= OSPI1_MASK;
#endif
	runp.phy_pwr_gating = MIPI_TX_DPHY_MASK | MIPI_RX_DPHY_MASK |
		MIPI_PLL_DPHY_MASK | LDO_PHY_MASK;
	runp.ip_clock_gating =  OSPI_1_MASK | CAMERA_MASK | CDC200_MASK | MIPI_DSI_MASK | GPU_MASK;

	ret = se_service_set_run_cfg(&runp);
	__ASSERT(ret == 0, "SE: set_run_cfg failed = %d", ret);


	return ret;
}
/*
 * CRITICAL: Must run at PRE_KERNEL_1 to restore SYSTOP before peripherals initialize.
 *
 * Priority 46 ensures this runs:
 *   - AFTER SE Services (priority 45) - SE must be ready for set_run_cfg()
 *   - BEFORE Power Domain (priority 47) - Power domain needs SYSTOP enabled
 *   - BEFORE UART and peripherals (priority 50+) - Peripherals need SYSTOP ON
 *
 * On cold boot: SYSTOP is already ON by default, safe to call.
 * On SOFT_OFF wakeup: SYSTOP is OFF, must restore BEFORE peripherals access registers.
 */
SYS_INIT(app_set_run_params, PRE_KERNEL_1, 46);

static int camera_power(void)
{
	//sys_clear_bits(VBAT_PWR_CTRL, VBAT_PWR_CTRL_TX_DPHY_PWR_MASK | VBAT_PWR_CTRL_RX_DPHY_PWR_MASK |
    //                    VBAT_PWR_CTRL_DPHY_PLL_PWR_MASK | VBAT_PWR_CTRL_DPHY_VPH_1P8_PWR_BYP_EN);
	//sys_clear_bits(VBAT_PWR_CTRL, VBAT_PWR_CTRL_TX_DPHY_ISO | VBAT_PWR_CTRL_RX_DPHY_ISO | VBAT_PWR_CTRL_DPHY_PLL_ISO);


	/* Camera configuration */
#if defined(CONFIG_VIDEO)

	gpio_pin_configure_dt(&cam_pwr,GPIO_OUTPUT_INACTIVE);
	gpio_pin_configure_dt(&cam_reset, GPIO_OUTPUT_INACTIVE);
	
	gpio_pin_set_dt(&cam_pwr, GPIO_OUTPUT_ACTIVE);
	gpio_pin_set_dt(&cam_reset, GPIO_OUTPUT_ACTIVE);
	k_sleep(K_MSEC(5));
	//sys_write32(0x140001, M55HE_CFG_HE_CAMERA_PIXCLK);
	gpio_pin_set_dt(&cam_reset, GPIO_OUTPUT_INACTIVE);
	gpio_pin_set_dt(&cam_pwr, GPIO_OUTPUT_ACTIVE);


	k_sleep(K_MSEC(50));



	
#endif

	return 0;
}
SYS_INIT(camera_power, POST_KERNEL, 59);
```

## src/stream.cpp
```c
#include <stdio.h>
#include <vector>

#include "dsp/basic_math_functions.h"

#include <zephyr/logging/log.h>
LOG_MODULE_REGISTER(stream);

#include "stream_types.hpp"
#include "EventQueue.hpp"
#include "StreamNode.hpp"
#include "cstream_node.h"

#include "cg_queue.hpp"

extern "C" {
#include "stream.h"
#include "scheduler.h"
}

struct k_mem_slab cg_eventPool;
struct k_mem_slab cg_bufPool;
struct k_mem_slab cg_mutexPool;

// Event to the event thread
struct k_event cg_eventEvent;

// Event to the interrupt thread
struct k_event cg_interruptEvent;

// Event to the stream thread
struct k_event cg_streamEvent;

static void *event_pool_buffer;
static void *buf_pool_buffer;
static void *mutex_pool_buffer;

static k_tid_t tid_stream = nullptr;
static k_tid_t cg_eventThread = nullptr;
static k_tid_t tid_interrupts = nullptr;

static struct k_thread stream_thread;
static struct k_thread event_thread;
static struct k_thread interrupt_thread;

#define NB_MAX_EVENTS 20
#define NB_MAX_BUFS   20

#define AUDIO_THREAD_PRIORITY (0)
#define NORMAL_PRIORITY       5

static K_THREAD_STACK_DEFINE(interrupt_thread_stack, 4096);
static K_THREAD_STACK_DEFINE(event_thread_stack, 4096);
static K_THREAD_STACK_DEFINE(stream_thread_stack, 4096);

#define SRAM0_HEAP_SIZE 200000

__aligned(8)
__attribute__((section(".alif_sram0"))) static uint8_t sram0_heap_area[SRAM0_HEAP_SIZE];

static struct k_heap sram0_heap;

using namespace arm_cmsis_stream;

// Translate interrupt events into CMSIS Stream events
void interrupt_thread_function(void *, void *, void *)
{
    LOG_INF("Started interrupt thread\n");
#if defined(STREAMVIDEO_ID)
    // There no interrupt event (yet) to transmit to the
    // CMSIS Stream graph. So this thread is empty for now.
    CStreamNode *cvideoNode = get_scheduler_node(STREAMVIDEO_ID);
    if (cvideoNode == nullptr) {
        LOG_ERR("Can't get cvideo node\n");
        return;
    }

    StreamNode *videoNode = static_cast<StreamNode *>(cvideoNode->obj);
    if (videoNode == nullptr) {
        LOG_ERR("Can't get video node\n");
        return;
    }

    for (;;) {
        k_sleep(K_MSEC(100));
        Event evt{kDo, kHighPriority};
        arm_cmsis_stream::EventQueue::cg_eventQueue->push(LocalDestination{videoNode, 0},
                                                          std::move(evt));
    }
#endif
}

void event_thread_function(void *, void *, void *)
{
    LOG_INF("Started event thread\n");

    arm_cmsis_stream::EventQueue::cg_eventQueue->execute();

    // Delete the event queue when done

    delete arm_cmsis_stream::EventQueue::cg_eventQueue;
    arm_cmsis_stream::EventQueue::cg_eventQueue = nullptr;
}

void stream_thread_function(void *, void *, void *)
{
    uint32_t nb_iter;
    int error;
    LOG_INF("Stream thread started\n");

    LOG_INF("Starting scheduler\n");
    nb_iter = scheduler(&error);
    if ((error != CG_SUCCESS) && (error != CG_STOP_SCHEDULER)) {
        LOG_ERR("Scheduler error %d\n", error);
    }
    LOG_INF("Scheduler done after %d iterations\n", nb_iter);

    // We don't free the scheduler nodes
    // since in a pure event based graph the nodes
    // must continue to exist to process events.
}

int init_stream()
{
    /* Init sram0 heap */
    k_heap_init(&sram0_heap, sram0_heap_area, SRAM0_HEAP_SIZE);

    /* Init memory slabs */
    event_pool_buffer = nullptr;
    buf_pool_buffer = nullptr;
    mutex_pool_buffer = nullptr;

    event_pool_buffer =
            k_heap_alloc(&sram0_heap, NB_MAX_EVENTS * (sizeof(ListValue) + 16), K_NO_WAIT);
    int err = k_mem_slab_init(&cg_eventPool, event_pool_buffer, sizeof(ListValue) + 16,
                              NB_MAX_EVENTS);
    if (err != 0) {
        LOG_ERR("Failed to init event pool slab\n");
        return (err);
    }

    buf_pool_buffer =
            k_heap_alloc(&sram0_heap, NB_MAX_BUFS * (sizeof(Tensor<double>) + 16), K_NO_WAIT);
    err = k_mem_slab_init(&cg_bufPool, buf_pool_buffer, sizeof(Tensor<double>) + 16, NB_MAX_BUFS);
    if (err != 0) {
        LOG_ERR("Failed to init buf pool slab\n");
        return (err);
    }

    mutex_pool_buffer = k_heap_alloc(&sram0_heap, NB_MAX_BUFS * (sizeof(CG_MUTEX) + 16), K_NO_WAIT);
    err = k_mem_slab_init(&cg_mutexPool, mutex_pool_buffer, sizeof(CG_MUTEX) + 16, NB_MAX_BUFS);
    if (err != 0) {
        LOG_ERR("Failed to init mutex pool slab\n");
        return (err);
    }

    /* Init events */
    k_event_init(&cg_eventEvent);
    k_event_init(&cg_interruptEvent);
    k_event_init(&cg_streamEvent);

    /* Event queue init */
    arm_cmsis_stream::EventQueue::cg_eventQueue = new (std::nothrow) MyQueue(6, 5, 4);
    if (arm_cmsis_stream::EventQueue::cg_eventQueue == nullptr) {
        LOG_ERR("Can't create CMSIS Event Queue\n");
        return (ENOMEM);
    }

    // Init nodes
    err = init_scheduler();
    if (err != CG_SUCCESS) {
        LOG_ERR("Error: Failure during scheduler initialization.\n");
        return (ENOMEM);
    }

    /* Thread inits */
    tid_interrupts = k_thread_create(&interrupt_thread, interrupt_thread_stack,
                                     K_THREAD_STACK_SIZEOF(interrupt_thread_stack),
                                     interrupt_thread_function, NULL, NULL, NULL, NORMAL_PRIORITY,
                                     0, K_NO_WAIT);

    k_thread_name_set(&interrupt_thread, "interrupt_to_evt");

    cg_eventThread = k_thread_create(
            &event_thread, event_thread_stack, K_THREAD_STACK_SIZEOF(event_thread_stack),
            event_thread_function, NULL, NULL, NULL, NORMAL_PRIORITY, K_FP_REGS, K_NO_WAIT);

    k_thread_name_set(&event_thread, "event_thread");

    tid_stream = k_thread_create(&stream_thread, stream_thread_stack,
                                 K_THREAD_STACK_SIZEOF(stream_thread_stack), stream_thread_function,
                                 NULL, NULL, NULL, AUDIO_THREAD_PRIORITY, K_FP_REGS, K_NO_WAIT);

    k_thread_name_set(&stream_thread, "stream_thread");

    LOG_INF("Stream initialized\n");

    return (0);
}

void deinit_stream()
{
}
```

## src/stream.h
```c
#ifndef stream_H
#define stream_H

#include <zephyr/kernel.h>

#ifdef   __cplusplus
extern "C"
{
#endif

extern struct k_mem_slab cg_eventPool;
extern struct k_mem_slab cg_bufPool;
extern struct k_mem_slab cg_mutexPool;
extern struct k_event cg_eventEvent;
extern struct k_event cg_streamEvent;


//extern k_tid_t tid_stream;
//extern k_tid_t cg_eventThread;
//extern k_tid_t tid_interrupts;

int init_stream();
void deinit_stream();

#ifdef   __cplusplus
}
#endif

#endif
```
